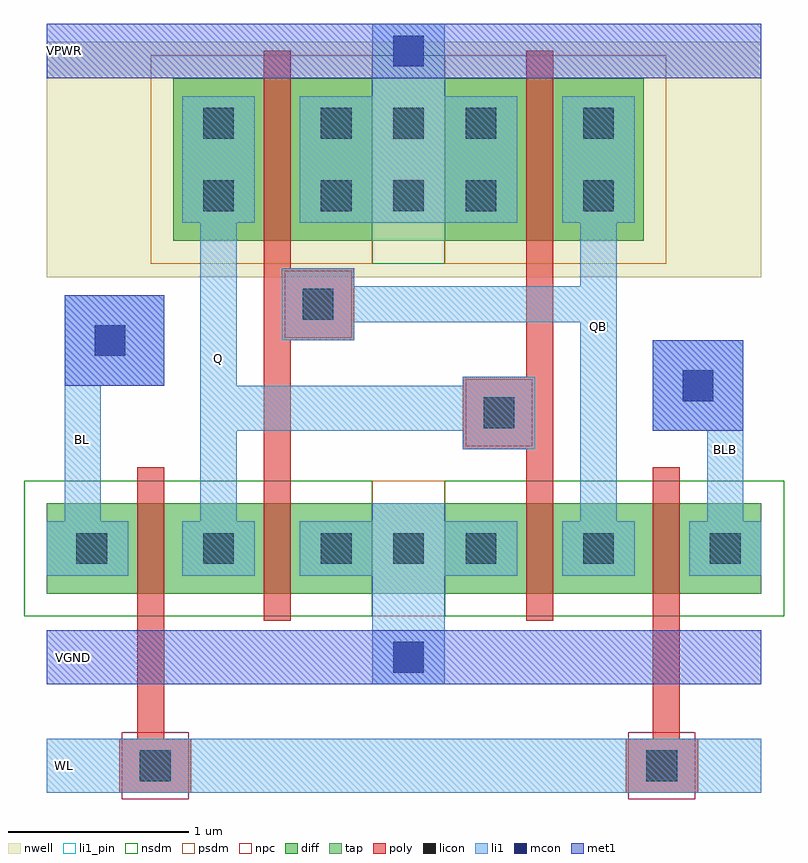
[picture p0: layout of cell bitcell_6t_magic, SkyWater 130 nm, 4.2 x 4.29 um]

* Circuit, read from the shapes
.subckt bitcell_6t_magic BL BLB Q QB VGND VPWR WL
XM1 Q WL BL VGND sky130_fd_pr__nfet_01v8 w=0.5 l=0.15
XM2 VGND QB Q VGND sky130_fd_pr__nfet_01v8 w=0.5 l=0.15
XM3 QB Q VGND VGND sky130_fd_pr__nfet_01v8 w=0.5 l=0.15
XM4 BLB WL QB VGND sky130_fd_pr__nfet_01v8 w=0.5 l=0.15
XM5 VPWR QB Q VPWR sky130_fd_pr__pfet_01v8 w=0.9 l=0.15
XM6 QB Q VPWR VPWR sky130_fd_pr__pfet_01v8 w=0.9 l=0.15
.ends

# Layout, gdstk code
import gdstk
lib = gdstk.Library(unit=1e-6, precision=1e-09)
def R(c, l, rs):  # rectangles x0, y0, x1, y1
    for r in rs: c.add(gdstk.rectangle(r[:2], r[2:], *l))
def A(c, l, x, y, w, h, nx, ny, dx, dy):  # array of equal rectangles
    R(c, l, [(x+i*dx, y+j*dy, x+i*dx+w, y+j*dy+h) for i in range(nx) for j in range(ny)])
nwell = (64, 20)
diff = (65, 20)
tap = (65, 44)
poly = (66, 20)
licon = (66, 44)
li1_pin = (67, 16)
li1 = (67, 20)
mcon = (67, 44)
met1 = (68, 20)
nsdm = (93, 44)
psdm = (94, 20)
npc = (95, 20)

bitcell_6t_magic = lib.new_cell('bitcell_6t_magic')
R(bitcell_6t_magic, nwell, [(-8.9,3.25,-4.95,4.55)])
R(bitcell_6t_magic, diff, [(-8.9,1.5,-7.1,2), (-6.7,1.5,-4.95,2), (-8.2,3.45,-7.1,4.35), (-6.7,3.45,-5.6,4.35)])
R(bitcell_6t_magic, tap, [(-7.1,1.5,-6.7,2), (-7.1,3.45,-6.7,4.35)])
R(bitcell_6t_magic, poly, [(-8.5,0.4,-8.1,0.7), (-5.7,0.4,-5.3,0.7), (-8.4,0.7,-8.25,2.2), (-5.55,0.7,-5.4,2.2), (-7.7,1.35,-7.55,2.9), (-6.25,1.35,-6.1,2.3), (-6.6,2.3,-6.1,2.7), (-6.25,2.7,-6.1,4.5), (-7.7,2.9,-7.2,3.3), (-7.7,3.3,-7.55,4.5)])
A(bitcell_6t_magic, licon, -7.385, 1.665, 0.17, 0.17, 3, 2, 0.4, 1.95)
A(bitcell_6t_magic, licon, -7.385, 4.015, 0.17, 0.17, 3, 1, 0.4, 0)
R(bitcell_6t_magic, licon, [(-8.385,0.465,-8.215,0.635), (-5.585,0.465,-5.415,0.635), (-8.735,1.665,-8.565,1.835), (-8.035,1.665,-7.865,1.835), (-5.935,1.665,-5.765,1.835), (-5.235,1.665,-5.065,1.835), (-6.485,2.415,-6.315,2.585), (-7.485,3.015,-7.315,3.185), (-8.035,3.615,-7.865,3.785), (-5.935,3.615,-5.765,3.785), (-8.035,4.015,-7.865,4.185), (-5.935,4.015,-5.765,4.185)])
R(bitcell_6t_magic, li1_pin, [(-5.9,2.95,-5.8,3)])
R(bitcell_6t_magic, li1, [(-8.9,0.4,-4.95,0.7), (-7.1,1,-6.7,1.6), (-8.9,1.6,-8.45,1.9), (-8.15,1.6,-7.75,1.9), (-7.5,1.6,-6.3,1.9), (-6.05,1.6,-5.65,1.9), (-5.35,1.6,-4.95,1.9), (-8.8,1.9,-8.6,2.65), (-8.05,1.9,-7.85,2.4), (-7.1,1.9,-6.7,2), (-5.95,1.9,-5.75,3), (-5.25,1.9,-5.05,2.4), (-6.6,2.3,-6.2,2.4), (-8.05,2.4,-6.2,2.65), (-5.55,2.4,-5.05,2.9), (-8.8,2.65,-8.25,3.15), (-8.05,2.65,-7.85,3.55), (-6.6,2.65,-6.2,2.7), (-7.6,2.9,-7.2,3), (-7.6,3,-5.75,3.2), (-7.6,3.2,-7.2,3.3), (-5.95,3.2,-5.75,3.55), (-8.15,3.55,-7.75,4.25), (-7.5,3.55,-6.3,4.25), (-6.05,3.55,-5.65,4.25), (-7.1,4.25,-6.7,4.65)])
R(bitcell_6t_magic, mcon, [(-6.985,1.065,-6.815,1.235), (-5.385,2.565,-5.215,2.735), (-8.635,2.815,-8.465,2.985), (-6.985,4.415,-6.815,4.585)])
R(bitcell_6t_magic, met1, [(-8.9,1,-4.95,1.3), (-5.55,2.4,-5.05,2.9), (-8.8,2.65,-8.25,3.15), (-8.9,4.35,-4.95,4.65)])
R(bitcell_6t_magic, nsdm, [(-9.025,1.375,-7.1,2.125), (-6.7,1.375,-4.825,2.125), (-7.1,3.325,-6.7,4.475)])
R(bitcell_6t_magic, psdm, [(-7.1,1.375,-6.7,2.125), (-8.325,3.325,-7.1,4.475), (-6.7,3.325,-5.475,4.475)])
R(bitcell_6t_magic, npc, [(-8.485,0.365,-8.115,0.735), (-5.685,0.365,-5.315,0.735), (-6.585,2.315,-6.215,2.685), (-7.585,2.915,-7.215,3.285)])
bitcell_6t_magic.add(gdstk.Label('WL', (-8.8,0.55), layer=67, texttype=5))
bitcell_6t_magic.add(gdstk.Label('VPWR', (-8.8,4.5), layer=68, texttype=5))
bitcell_6t_magic.add(gdstk.Label('BLB', (-5.15,2.3), layer=67, texttype=5))
bitcell_6t_magic.add(gdstk.Label('VGND', (-8.75,1.15), layer=68, texttype=5))
bitcell_6t_magic.add(gdstk.Label('BL', (-8.7,2.35), layer=67, texttype=5))
bitcell_6t_magic.add(gdstk.Label('Q', (-7.95,2.8), layer=67, texttype=5))
bitcell_6t_magic.add(gdstk.Label('QB', (-5.85,2.975), layer=67, texttype=5))

lib.write_gds('bitcell_6t_magic.gds')
